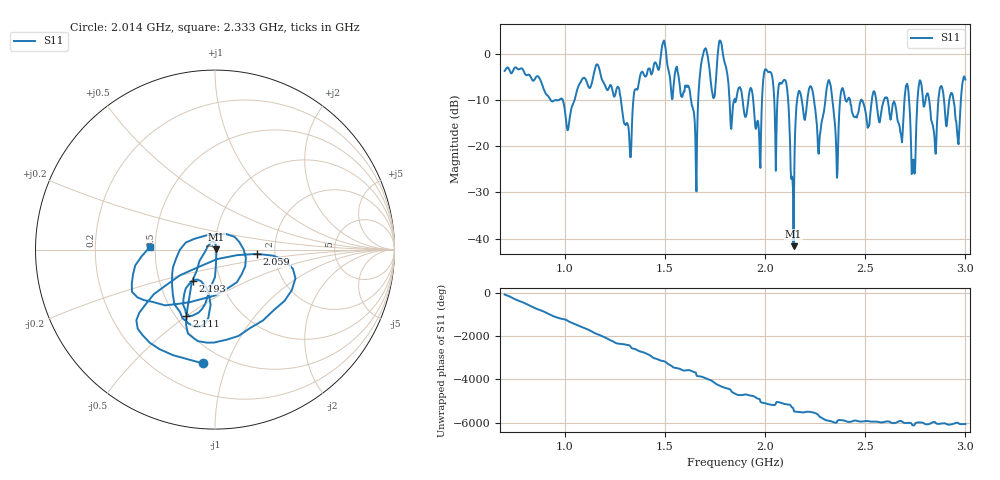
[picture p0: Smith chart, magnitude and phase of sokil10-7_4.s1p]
# HZ S RI R 50
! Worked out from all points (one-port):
!   808 points, 700 MHz to 3 GHz, reference 50 ohm
!   lowest |S11| = -41.6 dB at 2.142 GHz (marker M1), VSWR 1.02, Z = 50.8 + j0.0682 ohm
!   |S11| at or under -10 dB: 990.2 MHz to 1.049 GHz (59.26 MHz wide, 5.81 % of centre); 1.281 GHz to 1.343 GHz (62.21 MHz wide, 4.74 % of centre); 2.612 GHz to 2.696 GHz (83.85 MHz wide, 3.16 % of centre)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
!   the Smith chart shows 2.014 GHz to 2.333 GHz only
!   S11 on the Smith chart (normalised r, x): 2.014 GHz: 0.38, -0.82; 2.059 GHz: 1.61, -0.08; 2.111 GHz: 0.57, -0.50; 2.193 GHz: 0.74, -0.27; 2.333 GHz: 0.47, +0.02
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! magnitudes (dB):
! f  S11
! 700 MHz  -3.7
! 987.9 MHz  -9.8
! 1.276 GHz  -8.8
! 1.324 GHz  -19.9
! 1.384 GHz  -4.0
! 1.564 GHz  -3.9
! 1.652 GHz  -18.0
! 1.698 GHz  0.9
! 1.851 GHz  -10.5
! 1.968 GHz  -15.9
! 2.014 GHz  -3.9
! 2.059 GHz  -12.6
! 2.111 GHz  -7.9
! 2.139 GHz  -29.2
! 2.142 GHz  -41.6
! 2.165 GHz  -8.8
! 2.193 GHz  -13.4
! 2.333 GHz  -8.8
! 2.356 GHz  -21.5
! 2.384 GHz  -7.6
! 2.427 GHz  -11.1
! 2.715 GHz  -7.8
! 2.741 GHz  -22.9
! 2.772 GHz  -5.8
! 2.846 GHz  -18.3
! 2.877 GHz  -7.0
! 2.963 GHz  -18.9
! 3 GHz  -5.6
